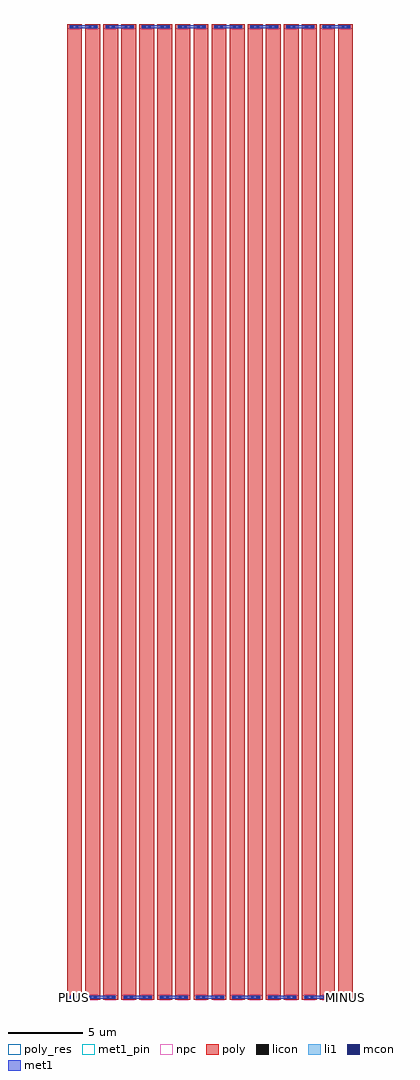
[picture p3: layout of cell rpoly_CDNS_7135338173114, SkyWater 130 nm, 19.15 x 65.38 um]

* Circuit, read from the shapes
.subckt rpoly_CDNS_7135338173114 MINUS PLUS
R1 n1 PLUS sky130_fd_pr__res_generic_po w=1 l=64.835
R2 n1 n2 sky130_fd_pr__res_generic_po w=1 l=64.835
R3 n3 n2 sky130_fd_pr__res_generic_po w=1 l=64.835
R4 n3 n4 sky130_fd_pr__res_generic_po w=1 l=64.835
R5 n5 n4 sky130_fd_pr__res_generic_po w=1 l=64.835
R6 n5 n6 sky130_fd_pr__res_generic_po w=1 l=64.835
R7 n7 n6 sky130_fd_pr__res_generic_po w=1 l=64.835
R8 n7 n8 sky130_fd_pr__res_generic_po w=1 l=64.835
R9 n9 n8 sky130_fd_pr__res_generic_po w=1 l=64.835
R10 n9 n10 sky130_fd_pr__res_generic_po w=1 l=64.835
R11 n11 n10 sky130_fd_pr__res_generic_po w=1 l=64.835
R12 n11 n12 sky130_fd_pr__res_generic_po w=1 l=64.835
R13 n13 n12 sky130_fd_pr__res_generic_po w=1 l=64.835
R14 n13 n14 sky130_fd_pr__res_generic_po w=1 l=64.835
R15 n15 n14 sky130_fd_pr__res_generic_po w=1 l=64.835
R16 n15 MINUS sky130_fd_pr__res_generic_po w=1 l=64.835
.ends

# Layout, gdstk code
import gdstk
lib = gdstk.Library(unit=1e-6, precision=1e-09)
def R(c, l, rs):  # rectangles x0, y0, x1, y1
    for r in rs: c.add(gdstk.rectangle(r[:2], r[2:], *l))
def A(c, l, x, y, w, h, nx, ny, dx, dy):  # array of equal rectangles
    R(c, l, [(x+i*dx, y+j*dy, x+i*dx+w, y+j*dy+h) for i in range(nx) for j in range(ny)])
poly_res = (66, 13)
poly = (66, 20)
licon = (66, 44)
li1 = (67, 20)
mcon = (67, 44)
met1_pin = (68, 16)
met1 = (68, 20)
npc = (95, 20)

rpoly_cdns_7135338173114 = lib.new_cell('rpoly_CDNS_7135338173114')
A(rpoly_cdns_7135338173114, poly_res, 0, 0, 1, 64.835, 16, 1, 1.21, 0)
A(rpoly_cdns_7135338173114, poly, 0, -0.25, 1, 65.335, 16, 1, 1.21, 0)
R(rpoly_cdns_7135338173114, licon, [(0.245,-0.17,0.415,0), (0.585,-0.17,0.755,0), (1.455,-0.17,1.625,0), (1.795,-0.17,1.965,0), (2.665,-0.17,2.835,0), (3.005,-0.17,3.175,0), (3.875,-0.17,4.045,0), (4.215,-0.17,4.385,0), (5.085,-0.17,5.255,0), (5.425,-0.17,5.595,0), (6.295,-0.17,6.465,0), (6.635,-0.17,6.805,0), (7.505,-0.17,7.675,0), (7.845,-0.17,8.015,0), (8.715,-0.17,8.885,0), (9.055,-0.17,9.225,0), (9.925,-0.17,10.095,0), (10.265,-0.17,10.435,0), (11.135,-0.17,11.305,0), (11.475,-0.17,11.645,0), (12.345,-0.17,12.515,0), (12.685,-0.17,12.855,0), (13.555,-0.17,13.725,0), (13.895,-0.17,14.065,0), (14.765,-0.17,14.935,0), (15.105,-0.17,15.275,0), (15.975,-0.17,16.145,0), (16.315,-0.17,16.485,0), (17.185,-0.17,17.355,0), (17.525,-0.17,17.695,0), (18.395,-0.17,18.565,0), (18.735,-0.17,18.905,0), (0.245,64.835,0.415,65.005), (0.585,64.835,0.755,65.005), (1.455,64.835,1.625,65.005), (1.795,64.835,1.965,65.005), (2.665,64.835,2.835,65.005), (3.005,64.835,3.175,65.005), (3.875,64.835,4.045,65.005), (4.215,64.835,4.385,65.005), (5.085,64.835,5.255,65.005), (5.425,64.835,5.595,65.005), (6.295,64.835,6.465,65.005), (6.635,64.835,6.805,65.005), (7.505,64.835,7.675,65.005), (7.845,64.835,8.015,65.005), (8.715,64.835,8.885,65.005), (9.055,64.835,9.225,65.005), (9.925,64.835,10.095,65.005), (10.265,64.835,10.435,65.005), (11.135,64.835,11.305,65.005), (11.475,64.835,11.645,65.005), (12.345,64.835,12.515,65.005), (12.685,64.835,12.855,65.005), (13.555,64.835,13.725,65.005), (13.895,64.835,14.065,65.005), (14.765,64.835,14.935,65.005), (15.105,64.835,15.275,65.005), (15.975,64.835,16.145,65.005), (16.315,64.835,16.485,65.005), (17.185,64.835,17.355,65.005), (17.525,64.835,17.695,65.005), (18.395,64.835,18.565,65.005), (18.735,64.835,18.905,65.005)])
A(rpoly_cdns_7135338173114, li1, 1.375, -0.17, 1.88, 0.17, 7, 1, 2.42, 0)
A(rpoly_cdns_7135338173114, li1, 0.165, 64.835, 1.88, 0.17, 8, 1, 2.42, 0)
R(rpoly_cdns_7135338173114, li1, [(0.165,-0.17,0.835,0), (18.315,-0.17,18.985,0)])
R(rpoly_cdns_7135338173114, mcon, [(0.235,-0.17,0.405,0), (0.595,-0.17,0.765,0), (1.445,-0.17,1.615,0), (1.805,-0.17,1.975,0), (2.655,-0.17,2.825,0), (3.015,-0.17,3.185,0), (3.865,-0.17,4.035,0), (4.225,-0.17,4.395,0), (5.075,-0.17,5.245,0), (5.435,-0.17,5.605,0), (6.285,-0.17,6.455,0), (6.645,-0.17,6.815,0), (7.495,-0.17,7.665,0), (7.855,-0.17,8.025,0), (8.705,-0.17,8.875,0), (9.065,-0.17,9.235,0), (9.915,-0.17,10.085,0), (10.275,-0.17,10.445,0), (11.125,-0.17,11.295,0), (11.485,-0.17,11.655,0), (12.335,-0.17,12.505,0), (12.695,-0.17,12.865,0), (13.545,-0.17,13.715,0), (13.905,-0.17,14.075,0), (14.755,-0.17,14.925,0), (15.115,-0.17,15.285,0), (15.965,-0.17,16.135,0), (16.325,-0.17,16.495,0), (17.175,-0.17,17.345,0), (17.535,-0.17,17.705,0), (18.385,-0.17,18.555,0), (18.745,-0.17,18.915,0), (0.235,64.835,0.405,65.005), (0.595,64.835,0.765,65.005), (1.445,64.835,1.615,65.005), (1.805,64.835,1.975,65.005), (2.655,64.835,2.825,65.005), (3.015,64.835,3.185,65.005), (3.865,64.835,4.035,65.005), (4.225,64.835,4.395,65.005), (5.075,64.835,5.245,65.005), (5.435,64.835,5.605,65.005), (6.285,64.835,6.455,65.005), (6.645,64.835,6.815,65.005), (7.495,64.835,7.665,65.005), (7.855,64.835,8.025,65.005), (8.705,64.835,8.875,65.005), (9.065,64.835,9.235,65.005), (9.915,64.835,10.085,65.005), (10.275,64.835,10.445,65.005), (11.125,64.835,11.295,65.005), (11.485,64.835,11.655,65.005), (12.335,64.835,12.505,65.005), (12.695,64.835,12.865,65.005), (13.545,64.835,13.715,65.005), (13.905,64.835,14.075,65.005), (14.755,64.835,14.925,65.005), (15.115,64.835,15.285,65.005), (15.965,64.835,16.135,65.005), (16.325,64.835,16.495,65.005), (17.175,64.835,17.345,65.005), (17.535,64.835,17.705,65.005), (18.385,64.835,18.555,65.005), (18.745,64.835,18.915,65.005)])
R(rpoly_cdns_7135338173114, met1_pin, [(0.175,-0.2,0.825,0.03), (18.325,-0.2,18.975,0.03)])
A(rpoly_cdns_7135338173114, met1, 1.385, -0.2, 1.86, 0.23, 7, 1, 2.42, 0)
A(rpoly_cdns_7135338173114, met1, 0.175, 64.805, 1.86, 0.23, 8, 1, 2.42, 0)
R(rpoly_cdns_7135338173114, met1, [(0.175,-0.2,0.825,0.03), (18.325,-0.2,18.975,0.03)])
A(rpoly_cdns_7135338173114, npc, 0.145, -0.27, 0.71, 0.37, 16, 2, 1.21, 65.005)
rpoly_cdns_7135338173114.add(gdstk.Label('MINUS', (18.65,-0.085), layer=68, texttype=5))
rpoly_cdns_7135338173114.add(gdstk.Label('PLUS', (0.5,-0.085), layer=68, texttype=5))

lib.write_gds('rpoly_CDNS_7135338173114.gds')
